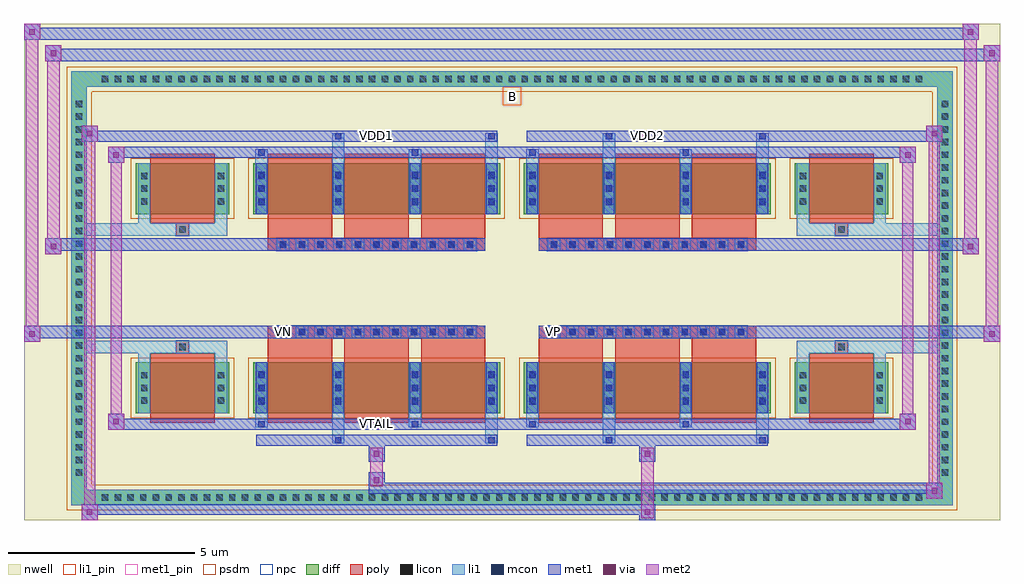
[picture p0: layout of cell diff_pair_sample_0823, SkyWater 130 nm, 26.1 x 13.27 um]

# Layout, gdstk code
import gdstk
lib = gdstk.Library(unit=1e-6, precision=5e-09)
def R(c, l, rs):  # rectangles x0, y0, x1, y1
    for r in rs: c.add(gdstk.rectangle(r[:2], r[2:], *l))
def A(c, l, x, y, w, h, nx, ny, dx, dy):  # array of equal rectangles
    R(c, l, [(x+i*dx, y+j*dy, x+i*dx+w, y+j*dy+h) for i in range(nx) for j in range(ny)])
def P(c, l, *ps):  # polygons
    for p in ps: c.add(gdstk.Polygon(p, *l))
nwell = (64, 20)
diff = (65, 20)
poly = (66, 20)
licon = (66, 44)
li1_pin = (67, 16)
li1 = (67, 20)
mcon = (67, 44)
met1_pin = (68, 16)
met1 = (68, 20)
via = (68, 44)
met2 = (69, 20)
psdm = (94, 20)
npc = (95, 20)

diff_pair_sample_0823 = lib.new_cell('diff_pair_sample_0823')
R(diff_pair_sample_0823, nwell, [(-13.05,-6.2,13.05,7.07), (-10.37,-4.39,-0.01,-0.805), (0.01,-4.39,10.37,-0.805), (-10.37,0.805,-0.01,4.39), (0.01,0.805,10.37,4.39)])
A(diff_pair_sample_0823, diff, -11.085, -5.8, 0.41, 0.41, 65, 2, 0.34, 11.19)
A(diff_pair_sample_0823, diff, -11.78, -5.135, 0.41, 0.41, 1, 30, 0, 0.34)
A(diff_pair_sample_0823, diff, 11.37, -5.135, 0.41, 0.41, 1, 30, 0, 0.34)
R(diff_pair_sample_0823, diff, [(-11.085,-5.8,11.085,-5.39), (-11.78,-5.135,-11.37,5.135), (11.37,-5.135,11.78,5.135), (-10.06,-3.345,-7.56,-1.985), (-6.92,-3.345,-0.32,-1.985), (0.32,-3.345,6.92,-1.985), (7.56,-3.345,10.06,-1.985), (-10.06,1.985,-7.56,3.345), (-6.92,1.985,-0.32,3.345), (0.32,1.985,6.92,3.345), (7.56,1.985,10.06,3.345), (-11.085,5.39,11.085,5.8)])
P(diff_pair_sample_0823, diff, [(11.78,5.8),(-11.78,5.8),(-11.78,-5.39),(-11.37,-5.39),(-11.37,5.39),(11.37,5.39),(11.37,-5.39),(-11.37,-5.39),(-11.78,-5.39),(-11.78,-5.8),(11.78,-5.8)])
A(diff_pair_sample_0823, poly, -6.53, -3.595, 1.72, 1.86, 3, 2, 2.05, 5.33)
A(diff_pair_sample_0823, poly, 0.71, -3.595, 1.72, 1.86, 3, 2, 2.05, 5.33)
A(diff_pair_sample_0823, poly, -6.53, -1.735, 1.72, 0.4, 3, 2, 2.05, 3.07)
A(diff_pair_sample_0823, poly, 0.71, -1.735, 1.72, 0.4, 3, 2, 2.05, 3.07)
A(diff_pair_sample_0823, poly, -6.285, -1.335, 0.33, 0.33, 11, 2, 0.5, 2.34)
A(diff_pair_sample_0823, poly, 0.955, -1.335, 0.33, 0.33, 11, 2, 0.5, 2.34)
R(diff_pair_sample_0823, poly, [(-9.67,-3.595,-7.95,-1.735), (7.95,-3.595,9.67,-1.735), (-8.975,-1.735,-8.645,-1.405), (-8.975,-1.735,-8.645,-1.405), (8.645,-1.735,8.975,-1.405), (8.645,-1.735,8.975,-1.405), (-6.53,-1.335,-0.71,-1.005), (0.71,-1.335,6.53,-1.005), (-6.53,1.005,-0.71,1.335), (0.71,1.005,6.53,1.335), (-8.975,1.405,-8.645,1.735), (-8.975,1.405,-8.645,1.735), (8.645,1.405,8.975,1.735), (8.645,1.405,8.975,1.735), (-9.67,1.735,-7.95,3.595), (7.95,1.735,9.67,3.595)])
A(diff_pair_sample_0823, licon, -10.965, -5.68, 0.17, 0.17, 65, 2, 0.34, 11.19)
A(diff_pair_sample_0823, licon, -11.66, -5.015, 0.17, 0.17, 1, 30, 0, 0.34)
A(diff_pair_sample_0823, licon, 11.49, -5.015, 0.17, 0.17, 1, 30, 0, 0.34)
A(diff_pair_sample_0823, licon, -9.92, -3.09, 0.17, 0.17, 1, 3, 0, 0.34)
A(diff_pair_sample_0823, licon, -7.87, -3.09, 0.17, 0.17, 1, 3, 0, 0.34)
A(diff_pair_sample_0823, licon, -6.78, -3.09, 0.17, 0.17, 4, 3, 2.05, 0.34)
A(diff_pair_sample_0823, licon, 0.46, -3.09, 0.17, 0.17, 4, 3, 2.05, 0.34)
A(diff_pair_sample_0823, licon, 7.7, -3.09, 0.17, 0.17, 1, 3, 0, 0.34)
A(diff_pair_sample_0823, licon, 9.75, -3.09, 0.17, 0.17, 1, 3, 0, 0.34)
A(diff_pair_sample_0823, licon, -6.205, -1.255, 0.17, 0.17, 11, 2, 0.5, 2.34)
A(diff_pair_sample_0823, licon, 1.035, -1.255, 0.17, 0.17, 11, 2, 0.5, 2.34)
A(diff_pair_sample_0823, licon, -9.92, 2.24, 0.17, 0.17, 1, 3, 0, 0.34)
A(diff_pair_sample_0823, licon, -7.87, 2.24, 0.17, 0.17, 1, 3, 0, 0.34)
A(diff_pair_sample_0823, licon, -6.78, 2.24, 0.17, 0.17, 4, 3, 2.05, 0.34)
A(diff_pair_sample_0823, licon, 0.46, 2.24, 0.17, 0.17, 4, 3, 2.05, 0.34)
A(diff_pair_sample_0823, licon, 7.7, 2.24, 0.17, 0.17, 1, 3, 0, 0.34)
A(diff_pair_sample_0823, licon, 9.75, 2.24, 0.17, 0.17, 1, 3, 0, 0.34)
R(diff_pair_sample_0823, licon, [(-8.895,-1.655,-8.725,-1.485), (8.725,-1.655,8.895,-1.485), (-8.895,1.485,-8.725,1.655), (8.725,1.485,8.895,1.655)])
R(diff_pair_sample_0823, li1_pin, [(-0.25,4.89,0.25,5.39)])
A(diff_pair_sample_0823, li1, -11.045, -5.76, 0.33, 0.33, 65, 2, 0.34, 11.19)
A(diff_pair_sample_0823, li1, -11.74, -5.095, 0.33, 0.33, 1, 30, 0, 0.34)
A(diff_pair_sample_0823, li1, 11.41, -5.095, 0.33, 0.33, 1, 30, 0, 0.34)
A(diff_pair_sample_0823, li1, -6.86, -3.345, 0.33, 1.36, 4, 2, 2.05, 5.33)
A(diff_pair_sample_0823, li1, 0.38, -3.345, 0.33, 1.36, 4, 2, 2.05, 5.33)
A(diff_pair_sample_0823, li1, -10, -3.17, 0.33, 0.33, 1, 3, 0, 0.34)
A(diff_pair_sample_0823, li1, -7.95, -3.17, 0.33, 0.33, 1, 3, 0, 0.34)
A(diff_pair_sample_0823, li1, -6.86, -3.17, 0.33, 0.33, 4, 3, 2.05, 0.34)
A(diff_pair_sample_0823, li1, 0.38, -3.17, 0.33, 0.33, 4, 3, 2.05, 0.34)
A(diff_pair_sample_0823, li1, 7.62, -3.17, 0.33, 0.33, 1, 3, 0, 0.34)
A(diff_pair_sample_0823, li1, 9.67, -3.17, 0.33, 0.33, 1, 3, 0, 0.34)
A(diff_pair_sample_0823, li1, -6.78, -3.11, 0.17, 0.17, 4, 3, 2.05, 0.36)
A(diff_pair_sample_0823, li1, -6.78, -3.11, 0.17, 0.89, 4, 2, 2.05, 5.33)
A(diff_pair_sample_0823, li1, 0.46, -3.11, 0.17, 0.17, 4, 3, 2.05, 0.36)
A(diff_pair_sample_0823, li1, 0.46, -3.11, 0.17, 0.89, 4, 2, 2.05, 5.33)
A(diff_pair_sample_0823, li1, -6.285, -1.335, 0.33, 0.33, 11, 2, 0.5, 2.34)
A(diff_pair_sample_0823, li1, 0.955, -1.335, 0.33, 0.33, 11, 2, 0.5, 2.34)
A(diff_pair_sample_0823, li1, -10, 2.16, 0.33, 0.33, 1, 3, 0, 0.34)
A(diff_pair_sample_0823, li1, -7.95, 2.16, 0.33, 0.33, 1, 3, 0, 0.34)
A(diff_pair_sample_0823, li1, -6.86, 2.16, 0.33, 0.33, 4, 3, 2.05, 0.34)
A(diff_pair_sample_0823, li1, 0.38, 2.16, 0.33, 0.33, 4, 3, 2.05, 0.34)
A(diff_pair_sample_0823, li1, 7.62, 2.16, 0.33, 0.33, 1, 3, 0, 0.34)
A(diff_pair_sample_0823, li1, 9.67, 2.16, 0.33, 0.33, 1, 3, 0, 0.34)
A(diff_pair_sample_0823, li1, -6.78, 2.22, 0.17, 0.17, 4, 3, 2.05, 0.36)
A(diff_pair_sample_0823, li1, 0.46, 2.22, 0.17, 0.17, 4, 3, 2.05, 0.36)
R(diff_pair_sample_0823, li1, [(-11.78,-5.8,-11.37,-5.39), (-11.78,-5.8,-11.37,-5.39), (-11.37,-5.8,11.37,-5.39), (11.37,-5.8,11.78,-5.39), (11.37,-5.8,11.78,-5.39), (-11.78,-5.39,-11.37,5.39), (11.37,-5.39,11.78,5.39), (-4.81,-4.15,-4.48,-3.345), (-4.73,-4.15,-4.56,-3.98), (-0.71,-4.15,-0.38,-3.345), (-0.63,-4.15,-0.46,-3.98), (2.43,-4.15,2.76,-3.345), (2.51,-4.15,2.68,-3.98), (6.53,-4.15,6.86,-3.345), (6.61,-4.15,6.78,-3.98), (-6.86,-3.72,-6.53,-3.345), (-6.78,-3.72,-6.61,-3.55), (-2.76,-3.72,-2.43,-3.345), (-2.68,-3.72,-2.51,-3.55), (0.38,-3.72,0.71,-3.345), (0.46,-3.72,0.63,-3.55), (4.48,-3.72,4.81,-3.345), (4.56,-3.72,4.73,-3.55), (-10,-3.345,-9.67,-1.985), (-7.95,-3.345,-7.62,-1.985), (7.62,-3.345,7.95,-1.985), (9.67,-3.345,10,-1.985), (-10,-1.985,-9.67,-1.405), (-7.95,-1.985,-7.62,-1.405), (7.62,-1.985,7.95,-1.405), (9.67,-1.985,10,-1.405), (-11.78,-1.735,-8.975,-1.405), (-10,-1.735,-8.975,-1.405), (-8.975,-1.735,-8.645,-1.405), (-8.645,-1.735,-7.62,-1.405), (7.62,-1.735,8.645,-1.405), (8.645,-1.735,8.975,-1.405), (8.645,-1.735,11.78,-1.405), (8.975,-1.735,10,-1.405), (-11.78,1.405,-8.975,1.735), (-10,1.405,-8.975,1.735), (-10,1.405,-9.67,1.985), (-8.975,1.405,-8.645,1.735), (-8.645,1.405,-7.62,1.735), (-7.95,1.405,-7.62,1.985), (7.62,1.405,8.645,1.735), (7.62,1.405,7.95,1.985), (8.645,1.405,8.975,1.735), (8.645,1.405,11.78,1.735), (8.975,1.405,10,1.735), (9.67,1.405,10,1.985), (-10,1.985,-9.67,3.345), (-7.95,1.985,-7.62,3.345), (7.62,1.985,7.95,3.345), (9.67,1.985,10,3.345), (-6.86,3.345,-6.53,3.72), (-4.81,3.345,-4.48,4.15), (-2.76,3.345,-2.43,3.72), (-0.71,3.345,-0.38,4.15), (0.38,3.345,0.71,3.72), (2.43,3.345,2.76,4.15), (4.48,3.345,4.81,3.72), (6.53,3.345,6.86,4.15), (-6.78,3.55,-6.61,3.72), (-2.68,3.55,-2.51,3.72), (0.46,3.55,0.63,3.72), (4.56,3.55,4.73,3.72), (-4.73,3.98,-4.56,4.15), (-0.63,3.98,-0.46,4.15), (2.51,3.98,2.68,4.15), (6.61,3.98,6.78,4.15), (-11.78,5.39,-11.37,5.8), (-11.78,5.39,-11.37,5.8), (-11.37,5.39,11.37,5.8), (11.37,5.39,11.78,5.8), (11.37,5.39,11.78,5.8)])
A(diff_pair_sample_0823, mcon, -6.78, -3.11, 0.17, 0.17, 4, 3, 2.05, 0.36)
A(diff_pair_sample_0823, mcon, 0.46, -3.11, 0.17, 0.17, 4, 3, 2.05, 0.36)
A(diff_pair_sample_0823, mcon, -6.205, -1.255, 0.17, 0.17, 11, 2, 0.5, 2.34)
A(diff_pair_sample_0823, mcon, 1.035, -1.255, 0.17, 0.17, 11, 2, 0.5, 2.34)
A(diff_pair_sample_0823, mcon, -6.78, 2.22, 0.17, 0.17, 4, 3, 2.05, 0.36)
A(diff_pair_sample_0823, mcon, 0.46, 2.22, 0.17, 0.17, 4, 3, 2.05, 0.36)
R(diff_pair_sample_0823, mcon, [(-4.73,-4.15,-4.56,-3.98), (-0.63,-4.15,-0.46,-3.98), (2.51,-4.15,2.68,-3.98), (6.61,-4.15,6.78,-3.98), (-6.78,-3.72,-6.61,-3.55), (-2.68,-3.72,-2.51,-3.55), (0.46,-3.72,0.63,-3.55), (4.56,-3.72,4.73,-3.55), (-6.78,3.55,-6.61,3.72), (-2.68,3.55,-2.51,3.72), (0.46,3.55,0.63,3.72), (4.56,3.55,4.73,3.72), (-4.73,3.98,-4.56,4.15), (-0.63,3.98,-0.46,4.15), (2.51,3.98,2.68,4.15), (6.61,3.98,6.78,4.15)])
R(diff_pair_sample_0823, met1_pin, [(-3.755,-3.76,-3.485,-3.49), (-6.255,-1.295,-5.985,-1.025), (0.985,-1.295,1.255,-1.025), (-3.755,3.94,-3.485,4.21), (3.485,3.94,3.755,4.21)])
A(diff_pair_sample_0823, met1, -6.84, -3.345, 0.29, 1.36, 4, 2, 2.05, 5.33)
A(diff_pair_sample_0823, met1, 0.4, -3.345, 0.29, 1.36, 4, 2, 2.05, 5.33)
A(diff_pair_sample_0823, met1, -6.84, -3.17, 0.29, 0.29, 4, 3, 2.05, 0.36)
A(diff_pair_sample_0823, met1, 0.4, -3.17, 0.29, 0.29, 4, 3, 2.05, 0.36)
A(diff_pair_sample_0823, met1, -6.265, -1.315, 0.29, 0.29, 11, 2, 0.5, 2.34)
A(diff_pair_sample_0823, met1, 0.975, -1.315, 0.29, 0.29, 11, 2, 0.5, 2.34)
A(diff_pair_sample_0823, met1, -6.84, 2.16, 0.29, 0.29, 4, 3, 2.05, 0.36)
A(diff_pair_sample_0823, met1, 0.4, 2.16, 0.29, 0.29, 4, 3, 2.05, 0.36)
R(diff_pair_sample_0823, met1, [(-11.51,-6.2,-11.08,-5.77), (3.405,-6.2,3.835,-5.77), (-11.51,-6.06,3.835,-5.77), (11.08,-5.63,11.51,-5.2), (-3.835,-5.49,11.51,-5.2), (-3.835,-5.35,-3.405,-4.92), (-3.835,-4.64,-3.405,-4.21), (3.405,-4.64,3.835,-4.21), (-6.84,-4.21,-0.4,-3.92), (-4.79,-4.21,-4.5,-3.92), (-0.69,-4.21,-0.4,-3.92), (0.4,-4.21,6.84,-3.92), (2.45,-4.21,2.74,-3.92), (6.55,-4.21,6.84,-3.92), (-10.8,-3.78,-10.37,-3.35), (-10.8,-3.78,-6.84,-3.49), (-6.84,-3.78,-6.55,-3.49), (-6.84,-3.78,-0.4,-3.49), (-2.74,-3.78,-2.45,-3.49), (-0.4,-3.78,0.4,-3.49), (0.4,-3.78,0.69,-3.49), (0.4,-3.78,6.84,-3.49), (4.5,-3.78,4.79,-3.49), (6.84,-3.78,10.8,-3.49), (10.37,-3.78,10.8,-3.35), (-13.05,-1.435,-12.62,-1.005), (12.62,-1.435,13.05,-1.005), (-13.05,-1.335,-0.71,-1.005), (-6.53,-1.335,-0.71,-1.005), (0.71,-1.335,6.53,-1.005), (0.71,-1.335,13.05,-1.005), (-12.48,0.905,-12.05,1.335), (12.05,0.905,12.48,1.335), (-12.48,1.005,-6.53,1.335), (-6.53,1.005,-0.71,1.335), (0.71,1.005,6.53,1.335), (6.53,1.005,12.48,1.335), (-10.8,3.35,-10.37,3.78), (10.37,3.35,10.8,3.78), (-10.8,3.49,-6.84,3.78), (-6.84,3.49,-6.55,3.78), (-6.84,3.49,-0.4,3.78), (-2.74,3.49,-2.45,3.78), (-0.4,3.49,0.4,3.78), (0.4,3.49,0.69,3.78), (0.4,3.49,6.84,3.78), (4.5,3.49,4.79,3.78), (6.84,3.49,10.8,3.78), (-11.51,3.92,-11.08,4.35), (-11.51,3.92,-6.84,4.21), (-6.84,3.92,-0.4,4.21), (-4.79,3.92,-4.5,4.21), (-0.69,3.92,-0.4,4.21), (0.4,3.92,6.84,4.21), (2.45,3.92,2.74,4.21), (6.55,3.92,6.84,4.21), (6.84,3.92,11.51,4.21), (11.08,3.92,11.51,4.35), (-12.48,6.07,-12.05,6.5), (-12.48,6.07,-10.37,6.4), (-10.37,6.07,10.37,6.4), (10.37,6.07,13.05,6.4), (12.62,6.07,13.05,6.5), (-13.05,6.64,-12.62,7.07), (-13.05,6.64,-10.37,6.97), (-10.37,6.64,10.37,6.97), (10.37,6.64,12.48,6.97), (12.05,6.64,12.48,7.07)])
R(diff_pair_sample_0823, via, [(-11.37,-6.06,-11.22,-5.91), (3.545,-6.06,3.695,-5.91), (11.22,-5.49,11.37,-5.34), (-3.695,-5.21,-3.545,-5.06), (-3.695,-4.5,-3.545,-4.35), (3.545,-4.5,3.695,-4.35), (-10.66,-3.64,-10.51,-3.49), (10.51,-3.64,10.66,-3.49), (-12.91,-1.295,-12.76,-1.145), (12.76,-1.295,12.91,-1.145), (-12.34,1.045,-12.19,1.195), (12.19,1.045,12.34,1.195), (-10.66,3.49,-10.51,3.64), (10.51,3.49,10.66,3.64), (-11.37,4.06,-11.22,4.21), (11.22,4.06,11.37,4.21), (-12.34,6.21,-12.19,6.36), (12.76,6.21,12.91,6.36), (-12.91,6.78,-12.76,6.93), (12.19,6.78,12.34,6.93)])
R(diff_pair_sample_0823, met2, [(-11.51,-6.2,-11.08,-5.77), (-11.44,-6.2,-11.15,4.35), (-11.15,-6.2,-11.08,-5.77), (-11.46,-6.15,-11.13,-5.82), (3.455,-6.15,3.785,-5.82), (3.455,-5.82,3.785,-4.59), (11.08,-5.63,11.51,-5.2), (11.15,-5.63,11.44,4.35), (11.44,-5.63,11.51,-5.2), (11.13,-5.58,11.46,-5.25), (-3.785,-5.3,-3.455,-4.97), (-3.785,-4.97,-3.455,-4.59), (-3.785,-4.59,-3.455,-4.26), (3.455,-4.59,3.785,-4.26), (-10.8,-3.78,-10.37,-3.35), (-10.73,-3.78,-10.44,3.78), (-10.44,-3.78,-10.37,-3.35), (10.37,-3.78,10.8,-3.35), (10.44,-3.78,10.73,3.78), (10.73,-3.78,10.8,-3.35), (-10.75,-3.73,-10.42,-3.4), (10.42,-3.73,10.75,-3.4), (-13.05,-1.435,-12.62,-1.005), (-13,-1.435,-12.67,7.07), (-12.67,-1.435,-12.62,-1.005), (12.62,-1.435,13.05,-1.005), (12.67,-1.435,13,6.5), (13,-1.435,13.05,-1.005), (-13,-1.385,-12.67,-1.055), (12.67,-1.385,13,-1.055), (-12.48,0.905,-12.05,1.335), (-12.43,0.905,-12.1,6.5), (-12.1,0.905,-12.05,1.335), (12.05,0.905,12.48,1.335), (12.1,0.905,12.43,7.07), (12.43,0.905,12.48,1.335), (-12.43,0.955,-12.1,1.285), (12.1,0.955,12.43,1.285), (-10.8,3.35,-10.37,3.78), (-10.44,3.35,-10.37,3.78), (10.37,3.35,10.8,3.78), (10.73,3.35,10.8,3.78), (-10.75,3.4,-10.42,3.73), (10.42,3.4,10.75,3.73), (-11.51,3.92,-11.08,4.35), (-11.15,3.92,-11.08,4.35), (11.08,3.92,11.51,4.35), (11.44,3.92,11.51,4.35), (-11.46,3.97,-11.13,4.3), (11.13,3.97,11.46,4.3), (-12.48,6.07,-12.05,6.5), (-12.1,6.07,-12.05,6.5), (12.62,6.07,13.05,6.5), (13,6.07,13.05,6.5), (-12.43,6.12,-12.1,6.45), (12.67,6.12,13,6.45), (-13.05,6.64,-12.62,7.07), (-12.67,6.64,-12.62,7.07), (12.05,6.64,12.48,7.07), (12.43,6.64,12.48,7.07), (-13,6.69,-12.67,7.02), (12.1,6.69,12.43,7.02)])
R(diff_pair_sample_0823, psdm, [(-10.19,-3.475,-7.43,-1.855), (-7.05,-3.475,-0.19,-1.855), (0.19,-3.475,7.05,-1.855), (7.43,-3.475,10.19,-1.855), (-10.19,1.855,-7.43,3.475), (-7.05,1.855,-0.19,3.475), (0.19,1.855,7.05,3.475), (7.43,1.855,10.19,3.475)])
P(diff_pair_sample_0823, psdm, [(11.91,5.93),(-11.91,5.93),(-11.91,-5.26),(-11.24,-5.26),(-11.24,5.26),(11.24,5.26),(11.24,-5.26),(-11.24,-5.26),(-11.91,-5.26),(-11.91,-5.93),(11.91,-5.93)])
A(diff_pair_sample_0823, npc, -6.305, -1.355, 0.37, 0.37, 11, 2, 0.5, 2.34)
A(diff_pair_sample_0823, npc, 0.935, -1.355, 0.37, 0.37, 11, 2, 0.5, 2.34)
R(diff_pair_sample_0823, npc, [(-8.995,-1.755,-8.625,-1.385), (8.625,-1.755,8.995,-1.385), (-6.305,-1.355,-5.435,-0.985), (-6.305,-1.355,-5.435,-0.985), (-5.805,-1.355,-4.935,-0.985), (-5.805,-1.355,-4.935,-0.985), (-5.305,-1.355,-4.435,-0.985), (-5.305,-1.355,-4.435,-0.985), (-4.805,-1.355,-3.935,-0.985), (-4.805,-1.355,-3.935,-0.985), (-4.305,-1.355,-3.435,-0.985), (-4.305,-1.355,-3.435,-0.985), (-3.805,-1.355,-2.935,-0.985), (-3.805,-1.355,-2.935,-0.985), (-3.305,-1.355,-2.435,-0.985), (-3.305,-1.355,-2.435,-0.985), (-2.805,-1.355,-1.935,-0.985), (-2.805,-1.355,-1.935,-0.985), (-2.305,-1.355,-1.435,-0.985), (-2.305,-1.355,-1.435,-0.985), (-1.805,-1.355,-0.935,-0.985), (-1.805,-1.355,-0.935,-0.985), (0.935,-1.355,1.805,-0.985), (0.935,-1.355,1.805,-0.985), (1.435,-1.355,2.305,-0.985), (1.435,-1.355,2.305,-0.985), (1.935,-1.355,2.805,-0.985), (1.935,-1.355,2.805,-0.985), (2.435,-1.355,3.305,-0.985), (2.435,-1.355,3.305,-0.985), (2.935,-1.355,3.805,-0.985), (2.935,-1.355,3.805,-0.985), (3.435,-1.355,4.305,-0.985), (3.435,-1.355,4.305,-0.985), (3.935,-1.355,4.805,-0.985), (3.935,-1.355,4.805,-0.985), (4.435,-1.355,5.305,-0.985), (4.435,-1.355,5.305,-0.985), (4.935,-1.355,5.805,-0.985), (4.935,-1.355,5.805,-0.985), (5.435,-1.355,6.305,-0.985), (5.435,-1.355,6.305,-0.985), (-6.305,0.985,-5.435,1.355), (-6.305,0.985,-5.435,1.355), (-5.805,0.985,-4.935,1.355), (-5.805,0.985,-4.935,1.355), (-5.305,0.985,-4.435,1.355), (-5.305,0.985,-4.435,1.355), (-4.805,0.985,-3.935,1.355), (-4.805,0.985,-3.935,1.355), (-4.305,0.985,-3.435,1.355), (-4.305,0.985,-3.435,1.355), (-3.805,0.985,-2.935,1.355), (-3.805,0.985,-2.935,1.355), (-3.305,0.985,-2.435,1.355), (-3.305,0.985,-2.435,1.355), (-2.805,0.985,-1.935,1.355), (-2.805,0.985,-1.935,1.355), (-2.305,0.985,-1.435,1.355), (-2.305,0.985,-1.435,1.355), (-1.805,0.985,-0.935,1.355), (-1.805,0.985,-0.935,1.355), (0.935,0.985,1.805,1.355), (0.935,0.985,1.805,1.355), (1.435,0.985,2.305,1.355), (1.435,0.985,2.305,1.355), (1.935,0.985,2.805,1.355), (1.935,0.985,2.805,1.355), (2.435,0.985,3.305,1.355), (2.435,0.985,3.305,1.355), (2.935,0.985,3.805,1.355), (2.935,0.985,3.805,1.355), (3.435,0.985,4.305,1.355), (3.435,0.985,4.305,1.355), (3.935,0.985,4.805,1.355), (3.935,0.985,4.805,1.355), (4.435,0.985,5.305,1.355), (4.435,0.985,5.305,1.355), (4.935,0.985,5.805,1.355), (4.935,0.985,5.805,1.355), (5.435,0.985,6.305,1.355), (5.435,0.985,6.305,1.355), (-8.995,1.385,-8.625,1.755), (8.625,1.385,8.995,1.755)])
diff_pair_sample_0823.add(gdstk.Label('VTAIL', (-3.62,-3.625), layer=68, texttype=5))
diff_pair_sample_0823.add(gdstk.Label('VN', (-6.12,-1.16), layer=68, texttype=5))
diff_pair_sample_0823.add(gdstk.Label('VP', (1.12,-1.16), layer=68, texttype=5))
diff_pair_sample_0823.add(gdstk.Label('B', (0,5.14), layer=67, texttype=5))
diff_pair_sample_0823.add(gdstk.Label('VDD2', (3.62,4.075), layer=68, texttype=5))
diff_pair_sample_0823.add(gdstk.Label('VDD1', (-3.62,4.075), layer=68, texttype=5))

lib.write_gds('diff_pair_sample_0823.gds')
